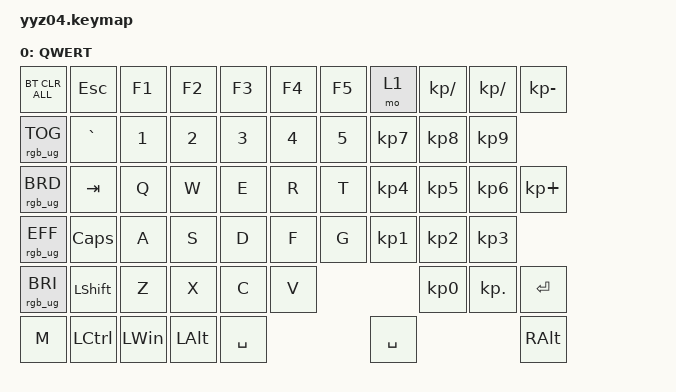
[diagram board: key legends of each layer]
#include <behaviors.dtsi>
#include <dt-bindings/zmk/bt.h>
#include <dt-bindings/zmk/keys.h>
#include <dt-bindings/zmk/outputs.h>
#include <dt-bindings/zmk/rgb.h>




&lt {
    flavor = "tap-preferred";
    quick-tap-ms = <180>;
};

&mt {
    quick-tap-ms = <180>;
    flavor = "tap-preferred";
};

/ {
    keymap {
        compatible = "zmk,keymap";

        LAYER0 {
            bindings = <
&bt BT_CLR_ALL    &kp ESC           &kp F1          &kp F2      &kp F3      &kp F4    &kp F5        &mo 1       &kp KP_SLASH   &kp KP_DIVIDE    &kp KP_MINUS 
&rgb_ug RGB_TOG   &kp GRAVE         &kp N1          &kp N2      &kp N3      &kp N4    &kp N5        &kp KP_N7   &kp KP_N8      &kp KP_N9
&rgb_ug RGB_BRD   &kp TAB           &kp Q           &kp W       &kp E       &kp R     &kp T         &kp KP_N4   &kp KP_N5      &kp KP_N6        &kp KP_PLUS  
&rgb_ug RGB_EFF   &kp CAPSLOCK      &kp A           &kp S       &kp D       &kp F     &kp G         &kp KP_N1   &kp KP_N2      &kp KP_N3 
&rgb_ug RGB_BRI   &kp LSHFT         &kp Z           &kp X       &kp C       &kp V                               &kp KP_N0      &kp KP_DOT       &kp ENTER 
&kp M             &kp LCTRL         &kp LWIN        &kp LALT    &kp SPACE                           &kp SPACE                                   &kp RALT               
            >;

            display-name = "QWERT";
        };
    };
};
